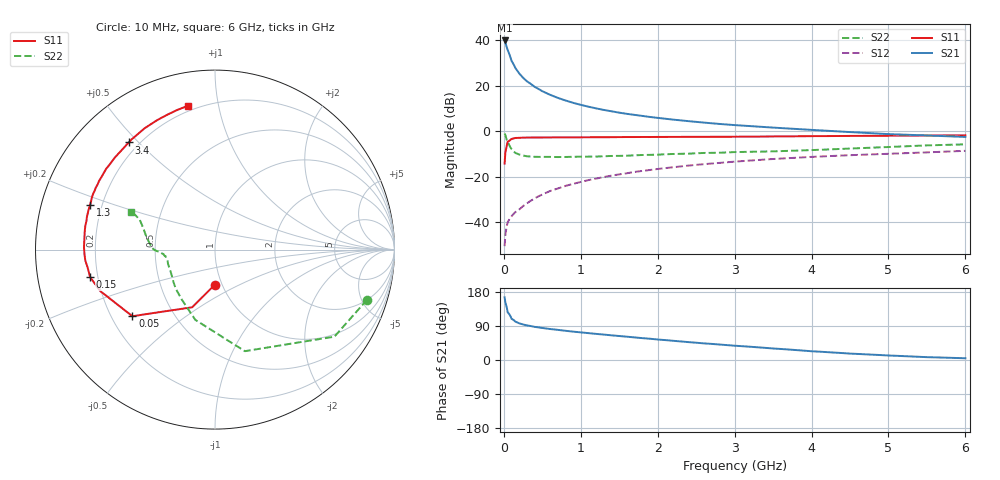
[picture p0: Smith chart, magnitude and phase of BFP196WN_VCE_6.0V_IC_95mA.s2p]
! (c) 2017  Infineon Technologies AG, Munich
! Infineon Technologies  Discrete & RF Semiconductors
! BFP196WN
! VCE =  6.0 V,  IC =  95 mA
! Common Emitter S-Parameters:  Jan 2017
# GHz  S  MA  R  50
!  f  S11  S21  S12  S22
! GHz  MAG  ANG  MAG  ANG  MAG  ANG  MAG  ANG
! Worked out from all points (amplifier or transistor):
!   77 points, 10 MHz to 6 GHz, reference 50 ohm
!   highest |S21| = 39.9 dB at 10 MHz (marker M1)
!   |S21| within 3 dB of that: start of sweep to 38.09 MHz
!   unconditionally stable (mu >= 1): 495.2 MHz to 2.39 GHz
!   at 130 MHz: K = 0.69, MSG = 32.7 dB, |S12| = -36.2 dB
!   at 2.2 GHz: K = 1.01, MAG = 9.7 dB, |S12| = -15.8 dB
!   at 6 GHz: K = 0.91, MSG = 3.0 dB, |S12| = -8.6 dB
!   S11 on the Smith chart (normalised r, x): 10 MHz: 0.93, -0.38; 50 MHz: 0.29, -0.33; 150 MHz: 0.17, -0.11; 1.3 GHz: 0.15, +0.17; 3.4 GHz: 0.16, +0.47; 6 GHz: 0.17, +0.82
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0.01  0.1952 -90.2  98.53 165.5  0.003 79.3  0.8917 -18.3
0.02  0.3457 -111.6  87.92 151.4  0.0054 72.5  0.8234 -36.1
0.05  0.5912 -141.1  60.68 125.8  0.0101 53.3  0.5899 -73.6
0.1  0.6791 -160.0  35.22 108.8  0.0136 53.1  0.4064 -105.7
0.15  0.7126 -167.6  24.49 101.3  0.0168 57.9  0.3343 -123.6
0.2  0.7168 -172.1  18.58 96.8  0.0192 59.8  0.3087 -135.0
0.25  0.7248 -175.0  14.96 93.7  0.0227 63.7  0.2935 -142.1
0.3  0.7274 -177.5  12.52 91.3  0.0261 65.2  0.282 -148.2
0.4  0.7301 179.0  9.463 87.4  0.0336 69.0  0.2749 -155.1
0.5  0.7298 176.1  7.58 84.5  0.0409 70.0  0.2737 -160.0
0.6  0.7313 173.7  6.33 81.8  0.0487 70.8  0.2735 -163.5
0.7  0.7332 171.6  5.419 79.6  0.0553 71.9  0.2714 -166.0
0.9  0.7338 167.4  4.213 74.9  0.07 71.5  0.2749 -169.1
1.1  0.7373 163.9  3.461 70.9  0.0847 71.3  0.2776 -171.8
1.3  0.7385 160.5  2.938 67.1  0.0987 70.2  0.2824 -172.9
1.6  0.7466 155.6  2.412 61.5  0.1198 68.3  0.2908 -175.3
2.1  0.7507 147.9  1.884 52.5  0.1553 64.5  0.312 -177.7
3.1  0.76 133.1  1.332 36.4  0.2212 55.9  0.3514 178.0
3.4  0.7664 128.8  1.235 32.0  0.2397 53.4  0.3593 176.0
4.1  0.7824 119.0  1.049 22.0  0.2784 47.1  0.3919 168.7
5.1  0.7991 108.3  0.854 11.1  0.3248 39.3  0.4585 158.0
6  0.8159 100.5  0.75 4.6  0.372 33.3  0.5156 155.7
